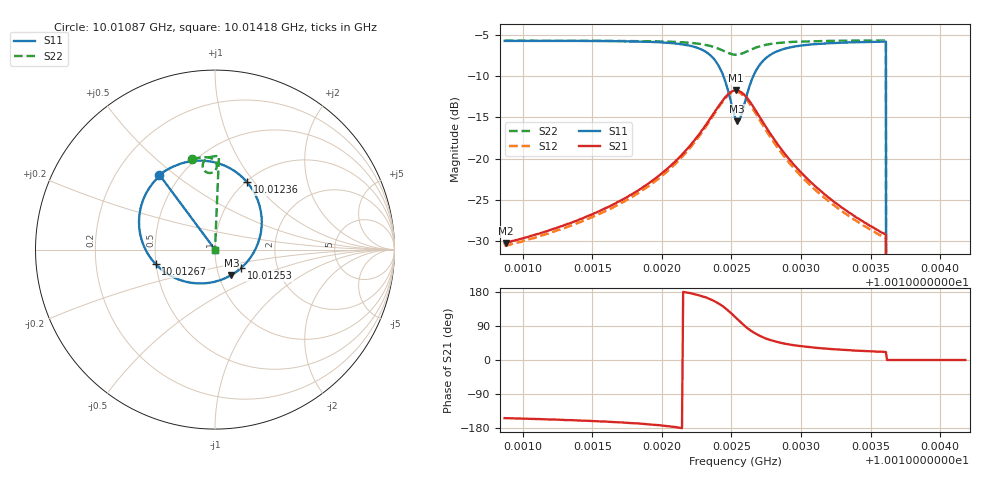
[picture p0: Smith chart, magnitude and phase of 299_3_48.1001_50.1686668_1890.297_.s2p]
#  HZ  S  RI  R  50.00
! Rohde & Schwarz Vector Network Analyzer
! Rohde-Schwarz,ZNB20-2Port,1311601062101988,3.16
! Created: UTC 12/23/2023, 4:04:34 AM
! freq[Hz]  re:S11  im:S11  re:S21  im:S21  re:S12  im:S12  re:S22  im:S22
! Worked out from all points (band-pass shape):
!   401 points, 10.01087 GHz to 10.01418 GHz, reference 50 ohm
!   highest |S21| = -11.71 dB at 10.01253 GHz (marker M1); lowest = -30.3 dB at 10.01088 GHz (marker M2)
!   |S21| within 3 dB of the highest: 10.01236 GHz to 10.01269 GHz (330.1 kHz wide, 0.0033 % of centre)
!   lowest |S11| = -15.5 dB at 10.01254 GHz (marker M3), VSWR 1.41, Z = 57.5 - j16.8 ohm
!   |S11| at or under -10 dB: 10.01244 GHz to 10.01266 GHz (214.1 kHz wide, 0.00214 % of centre); 10.01361 GHz to end of sweep
!   |S22| runs from - to -5.6 dB; largest |S21 - S12| = 0.012
!   S11 on the Smith chart (normalised r, x): 10.01087 GHz: 0.39, +0.44; 10.01236 GHz: 1.02, +0.92; 10.01253 GHz: 1.31, -0.27; 10.01267 GHz: 0.50, -0.09; 10.01418 GHz: 1.00, +0.00
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1.0010869e10  -0.3116 0.4149  -0.0273 -0.0137  -0.0255 -0.0145  -0.1274 0.5042
1.0010878e10  -0.311 0.4156  -0.0274 -0.0136  -0.0257 -0.0146  -0.1268 0.5042
1.0011424e10  -0.2534 0.4525  -0.0405 -0.0147  -0.0381 -0.0163  -0.0885 0.5121
1.0011731e10  -0.2008 0.4757  -0.0552 -0.0146  -0.0522 -0.017  -0.0643 0.5145
1.0011979e10  -0.1281 0.4931  -0.0779 -0.0109  -0.0743 -0.0147  -0.0409 0.5137
1.0012228e10  0.0255 0.4784  -0.1265 0.0125  -0.1231 0.00452  -0.0106 0.5031
1.001236e10  0.1791 0.3751  -0.1685 0.0668  -0.1688 0.0555  0.00757 0.4803
1.001241e10  0.238 0.2756  -0.1788 0.1093  -0.181 0.0975  0.0101 0.4644
1.0012459e10  0.2595 0.1258  -0.1705 0.1657  -0.1755 0.1553  0.00375 0.4449
1.0012493e10  0.2279 0.00742  -0.1457 0.2063  -0.1521 0.197  -0.0071 0.4336
1.0012526e10  0.1472 -0.1011  -0.1046 0.2375  -0.1125 0.2291  -0.0232 0.4269
1.0012534e10  0.121 -0.1224  -0.0931 0.2424  -0.0997 0.235  -0.0279 0.4265
1.0012542e10  0.0917 -0.1417  -0.0806 0.2464  -0.0872 0.2392  -0.0323 0.4267
1.0012567e10  -0.0039 -0.1799  -0.042 0.2506  -0.0478 0.244  -0.0449 0.4301
1.00126e10  -0.13 -0.1853  0.00596 0.2402  -0.00053 0.2334  -0.0584 0.4397
1.0012675e10  -0.3298 -0.0818  0.0686 0.1831  0.0615 0.1776  -0.0688 0.4674
1.0012749e10  -0.4062 0.0466  0.0858 0.1292  0.0776 0.1261  -0.0633 0.4877
1.0012849e10  -0.4231 0.1691  0.0814 0.0838  0.0741 0.0829  -0.0505 0.503
1.0013081e10  -0.3859 0.3093  0.0591 0.0386  0.0545 0.0394  -0.0234 0.5163
1.0013594e10  -0.3085 0.4105  0.0327 0.0128  0.0304 0.0137  0.0209 0.5216
1.0013635e10  0 0  0 0  0 0  0 0
1.0014182e10  0 0  0 0  0 0  0 0
